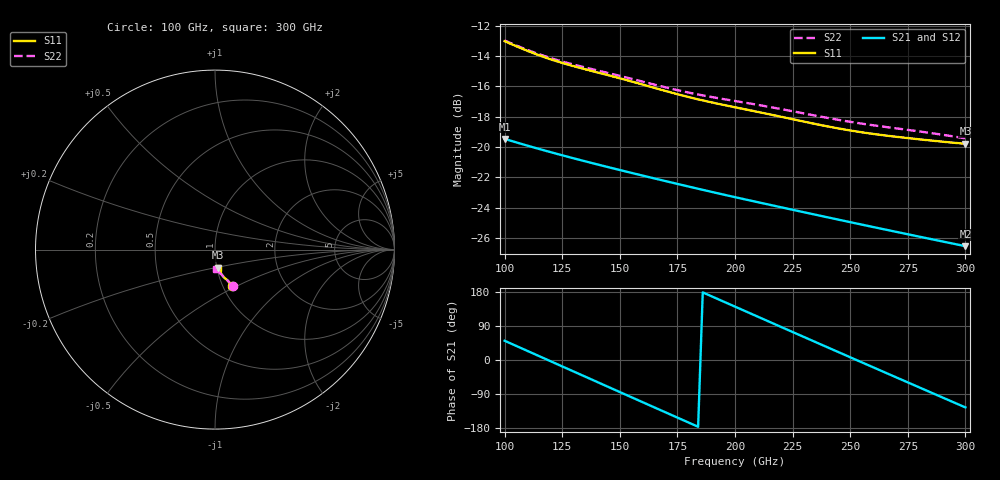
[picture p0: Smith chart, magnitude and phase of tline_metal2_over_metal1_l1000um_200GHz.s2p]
#  GHZ S DB R 50
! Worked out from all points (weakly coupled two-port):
!   101 points, 100 GHz to 300 GHz, reference 50 ohm
!   highest |S21| = -19.46 dB at 100 GHz (marker M1); lowest = -26.5 dB at 300 GHz (marker M2)
!   lowest |S11| = -19.8 dB at 300 GHz (marker M3), VSWR 1.23, Z = 50.8 - j10.4 ohm
!   |S11| at or under -10 dB: start of sweep to end of sweep
!   |S22| runs from -19.4 to -13.0 dB; largest |S21 - S12| = 9.9e-14
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100  -13.01 -64.5  -19.46 50.8  -19.46 50.8  -12.97 -64.0
108  -13.53 -65.8  -19.82 29.2  -19.82 29.2  -13.48 -65.2
116  -14.00 -66.7  -20.17 7.5  -20.17 7.5  -13.93 -66.1
124  -14.40 -67.5  -20.50 -14.2  -20.50 -14.2  -14.31 -66.9
134  -14.83 -68.7  -20.90 -41.3  -20.90 -41.3  -14.71 -68.0
142  -15.14 -69.7  -21.21 -62.9  -21.21 -62.9  -15.01 -69.0
150  -15.46 -70.9  -21.52 -84.5  -21.52 -84.5  -15.30 -70.2
158  -15.80 -72.1  -21.81 -106.2  -21.81 -106.2  -15.61 -71.4
168  -16.22 -73.3  -22.18 -133.1  -22.18 -133.1  -15.99 -72.7
176  -16.55 -74.1  -22.47 -154.7  -22.47 -154.7  -16.28 -73.5
184  -16.85 -74.7  -22.75 -176.2  -22.75 -176.2  -16.53 -74.2
192  -17.12 -75.3  -23.03 162.3  -23.03 162.3  -16.76 -75.0
200  -17.38 -76.0  -23.31 140.8  -23.31 140.8  -16.96 -75.9
208  -17.62 -76.6  -23.57 119.4  -23.57 119.4  -17.17 -77.0
216  -17.87 -77.3  -23.84 98.0  -23.84 98.0  -17.38 -78.1
224  -18.13 -77.9  -24.11 76.6  -24.11 76.6  -17.61 -79.1
234  -18.45 -78.5  -24.43 49.9  -24.43 49.9  -17.90 -80.3
250  -18.91 -78.9  -24.96 7.2  -24.96 7.2  -18.33 -81.8
258  -19.09 -78.9  -25.21 -14.0  -25.21 -14.0  -18.52 -82.5
268  -19.29 -79.1  -25.53 -40.6  -25.53 -40.6  -18.73 -83.5
284  -19.55 -79.4  -26.04 -82.9  -26.04 -82.9  -19.05 -85.3
300  -19.78 -79.8  -26.54 -125.1  -26.54 -125.1  -19.43 -87.3
